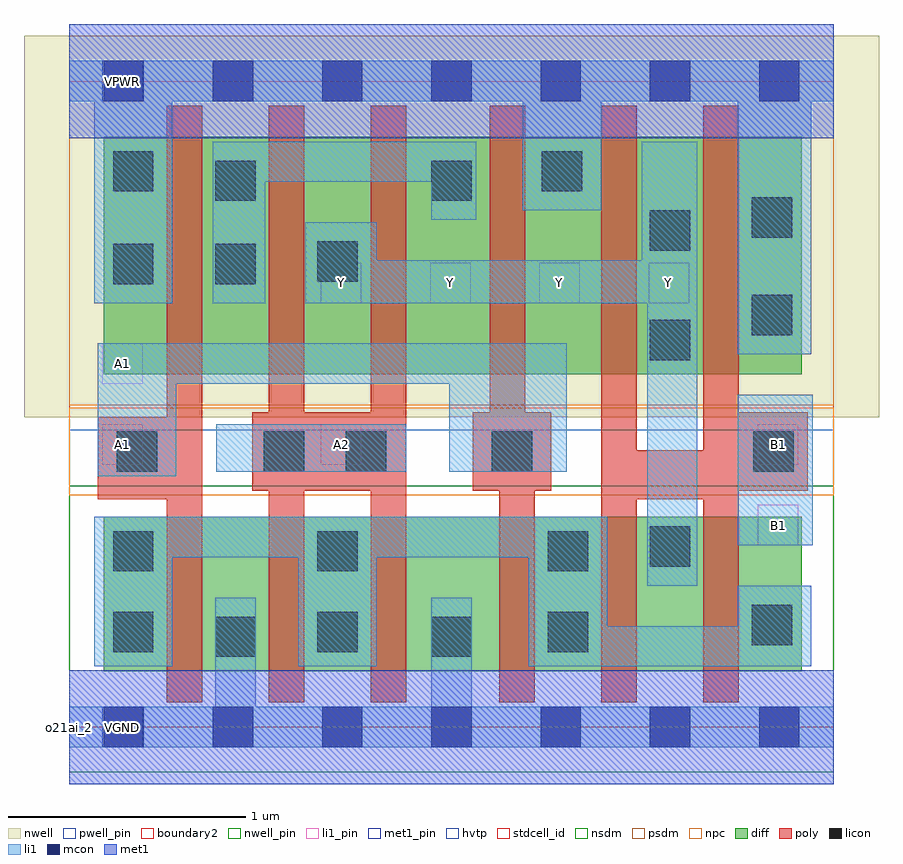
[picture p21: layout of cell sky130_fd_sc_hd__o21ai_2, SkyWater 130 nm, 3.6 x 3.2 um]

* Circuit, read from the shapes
.subckt sky130_fd_sc_hd__o21ai_2 A1 A2 B1 VGND VNB VPB VPWR Y
XM1 VGND A1 n1 VNB sky130_fd_pr__nfet_01v8 w=0.65 l=0.15 m=2
XM2 n1 A2 VGND VNB sky130_fd_pr__nfet_01v8 w=0.65 l=0.15 m=2
XM3 Y B1 n1 VNB sky130_fd_pr__nfet_01v8 w=0.65 l=0.15 m=2
XM4 n2 A1 VPWR VPB sky130_fd_pr__pfet_01v8_hvt w=1 l=0.15 m=2
XM5 Y A2 n2 VPB sky130_fd_pr__pfet_01v8_hvt w=1 l=0.15 m=2
XM6 Y B1 VPWR VPB sky130_fd_pr__pfet_01v8_hvt w=1 l=0.15 m=2
.ends

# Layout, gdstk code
import gdstk
lib = gdstk.Library(unit=1e-6, precision=1e-09)
def R(c, l, rs):  # rectangles x0, y0, x1, y1
    for r in rs: c.add(gdstk.rectangle(r[:2], r[2:], *l))
def A(c, l, x, y, w, h, nx, ny, dx, dy):  # array of equal rectangles
    R(c, l, [(x+i*dx, y+j*dy, x+i*dx+w, y+j*dy+h) for i in range(nx) for j in range(ny)])
def P(c, l, *ps):  # polygons
    for p in ps: c.add(gdstk.Polygon(p, *l))
nwell_pin = (64, 16)
nwell = (64, 20)
diff = (65, 20)
poly = (66, 20)
licon = (66, 44)
li1_pin = (67, 16)
li1 = (67, 20)
mcon = (67, 44)
met1_pin = (68, 16)
met1 = (68, 20)
hvtp = (78, 44)
stdcell_id = (81, 4)
nsdm = (93, 44)
psdm = (94, 20)
npc = (95, 20)
pwell_pin = (122, 16)
boundary2 = (236, 0)

sky130_fd_sc_hd__o21ai_2 = lib.new_cell('sky130_fd_sc_hd__o21ai_2')
R(sky130_fd_sc_hd__o21ai_2, nwell_pin, [(0.14,2.635,0.31,2.805)])
R(sky130_fd_sc_hd__o21ai_2, nwell, [(-0.19,1.305,3.41,2.91)])
R(sky130_fd_sc_hd__o21ai_2, diff, [(0.145,0.235,3.085,0.885), (0.145,1.485,3.085,2.485)])
R(sky130_fd_sc_hd__o21ai_2, poly, [(0.12,1.295,0.41,1.305)])
P(sky130_fd_sc_hd__o21ai_2, poly, [(0.56,2.615),(0.41,2.615),(0.41,1.295),(0.12,1.295),(0.12,0.96),(0.41,0.96),(0.41,0.105),(0.56,0.105)],
  [(1.42,2.615),(1.27,2.615),(1.27,1.325),(0.99,1.325),(0.99,2.615),(0.84,2.615),(0.84,1.325),(0.77,1.325),(0.77,0.995),(0.84,0.995),(0.84,0.105),(0.99,0.105),(0.99,0.995),(1.27,0.995),(1.27,0.105),(1.42,0.105)],
  [(2.03,1.325),(1.92,1.325),(1.92,2.615),(1.77,2.615),(1.77,1.325),(1.7,1.325),(1.7,0.995),(1.81,0.995),(1.81,0.105),(1.96,0.105),(1.96,0.995),(2.03,0.995)],
  [(3.11,1.325),(2.82,1.325),(2.82,2.615),(2.67,2.615),(2.67,1.165),(2.39,1.165),(2.39,2.615),(2.24,2.615),(2.24,0.105),(2.39,0.105),(2.39,0.96),(2.67,0.96),(2.67,0.105),(2.82,0.105),(2.82,0.995),(3.11,0.995)])
R(sky130_fd_sc_hd__o21ai_2, licon, [(0.615,0.295,0.785,0.465), (1.525,0.295,1.695,0.465), (0.185,0.315,0.355,0.485), (1.045,0.315,1.215,0.485), (2.015,0.315,2.185,0.485), (2.875,0.345,3.045,0.515), (0.185,0.655,0.355,0.825), (1.045,0.655,1.215,0.825), (2.015,0.655,2.185,0.825), (2.445,0.675,2.615,0.845), (0.2,1.075,0.37,1.245), (0.82,1.075,0.99,1.245), (1.165,1.075,1.335,1.245), (1.78,1.075,1.95,1.245), (2.88,1.075,3.05,1.245), (2.445,1.545,2.615,1.715), (2.875,1.65,3.045,1.82), (0.185,1.865,0.355,2.035), (0.615,1.865,0.785,2.035), (1.045,1.875,1.215,2.045), (2.445,2.005,2.615,2.175), (2.875,2.06,3.045,2.23), (0.615,2.215,0.785,2.385), (1.525,2.215,1.695,2.385), (0.185,2.255,0.355,2.425), (1.99,2.255,2.16,2.425)])
A(sky130_fd_sc_hd__o21ai_2, li1_pin, 1.06, 1.785, 0.17, 0.17, 4, 1, 0.46, 0)
R(sky130_fd_sc_hd__o21ai_2, li1_pin, [(2.9,0.765,3.07,0.935), (0.14,1.105,0.31,1.275), (1.06,1.105,1.23,1.275), (2.9,1.105,3.07,1.275), (0.14,1.445,0.31,1.615)])
R(sky130_fd_sc_hd__o21ai_2, li1, [(2.815,0.765,3.13,1.4), (0.62,1.075,1.42,1.275)])
P(sky130_fd_sc_hd__o21ai_2, li1, [(3.22,0.085),(1.695,0.085),(1.695,0.545),(1.525,0.545),(1.525,0.085),(0.785,0.085),(0.785,0.545),(0.615,0.545),(0.615,0.085),(0,0.085),(0,-0.085),(3.22,-0.085)],
  [(3.22,2.805),(0,2.805),(0,2.635),(0.105,2.635),(0.105,1.785),(0.435,1.785),(0.435,2.635),(1.91,2.635),(1.91,2.175),(2.24,2.175),(2.24,2.635),(2.815,2.635),(2.815,1.57),(3.125,1.57),(3.125,2.635),(3.22,2.635)],
  [(1.715,2.465),(0.605,2.465),(0.605,1.785),(0.825,1.785),(0.825,2.295),(1.525,2.295),(1.525,2.135),(1.715,2.135)],
  [(2.095,1.615),(0.12,1.615),(0.12,1.055),(0.45,1.055),(0.45,1.445),(1.6,1.445),(1.6,1.075),(2.095,1.075)],
  [(2.645,2.465),(2.41,2.465),(2.41,1.965),(1.295,1.965),(1.295,2.125),(0.995,2.125),(0.995,1.785),(2.435,1.785),(2.435,0.595),(2.645,0.595)],
  [(3.125,0.595),(2.815,0.595),(2.815,0.425),(2.265,0.425),(2.265,0.885),(0.105,0.885),(0.105,0.255),(0.435,0.255),(0.435,0.715),(0.965,0.715),(0.965,0.255),(1.295,0.255),(1.295,0.715),(1.935,0.715),(1.935,0.255),(3.125,0.255)])
A(sky130_fd_sc_hd__o21ai_2, mcon, 0.145, -0.085, 0.17, 0.17, 7, 2, 0.46, 2.72)
R(sky130_fd_sc_hd__o21ai_2, met1_pin, [(0.14,-0.085,0.31,0.085), (0.14,2.635,0.31,2.805)])
R(sky130_fd_sc_hd__o21ai_2, hvtp, [(0,1.25,3.22,2.72)])
R(sky130_fd_sc_hd__o21ai_2, stdcell_id, [(0,0,3.22,2.72)])
R(sky130_fd_sc_hd__o21ai_2, nsdm, [(0,-0.19,3.22,1.015)])
R(sky130_fd_sc_hd__o21ai_2, psdm, [(0,1.355,3.22,2.91)])
R(sky130_fd_sc_hd__o21ai_2, npc, [(0,0.975,3.22,1.345)])
R(sky130_fd_sc_hd__o21ai_2, pwell_pin, [(0.14,-0.085,0.31,0.085)])
R(sky130_fd_sc_hd__o21ai_2, boundary2, [(0,0,3.22,2.72)])
sky130_fd_sc_hd__o21ai_2.add(gdstk.FlexPath([(0,2.72),(3.22,2.72)], 0.48, ends="flush", simple_path=True, layer=68, datatype=20))  # met1
sky130_fd_sc_hd__o21ai_2.add(gdstk.FlexPath([(0,0),(3.22,0)], 0.48, ends="flush", simple_path=True, layer=68, datatype=20))  # met1
sky130_fd_sc_hd__o21ai_2.add(gdstk.Label('B1', (2.985,0.85), layer=67, texttype=5))
sky130_fd_sc_hd__o21ai_2.add(gdstk.Label('Y', (2.525,1.87), layer=67, texttype=5))
sky130_fd_sc_hd__o21ai_2.add(gdstk.Label('Y', (2.065,1.87), layer=67, texttype=5))
sky130_fd_sc_hd__o21ai_2.add(gdstk.Label('Y', (1.605,1.87), layer=67, texttype=5))
sky130_fd_sc_hd__o21ai_2.add(gdstk.Label('A2', (1.145,1.19), layer=67, texttype=5))
sky130_fd_sc_hd__o21ai_2.add(gdstk.Label('Y', (1.145,1.87), layer=67, texttype=5))
sky130_fd_sc_hd__o21ai_2.add(gdstk.Label('A1', (0.225,1.53), layer=67, texttype=5))
sky130_fd_sc_hd__o21ai_2.add(gdstk.Label('A1', (0.225,1.19), layer=67, texttype=5))
sky130_fd_sc_hd__o21ai_2.add(gdstk.Label('B1', (2.985,1.19), layer=67, texttype=5))
sky130_fd_sc_hd__o21ai_2.add(gdstk.Label('VGND', (0.225,0), layer=68, texttype=5))
sky130_fd_sc_hd__o21ai_2.add(gdstk.Label('VPWR', (0.225,2.72), layer=68, texttype=5))
sky130_fd_sc_hd__o21ai_2.add(gdstk.Label('VPB', (0.225,2.72), layer=64, texttype=5))
sky130_fd_sc_hd__o21ai_2.add(gdstk.Label('VNB', (0.225,0), layer=64, texttype=59))
sky130_fd_sc_hd__o21ai_2.add(gdstk.Label('o21ai_2', (0,0), layer=83, texttype=44))

lib.write_gds('sky130_fd_sc_hd__o21ai_2.gds')
